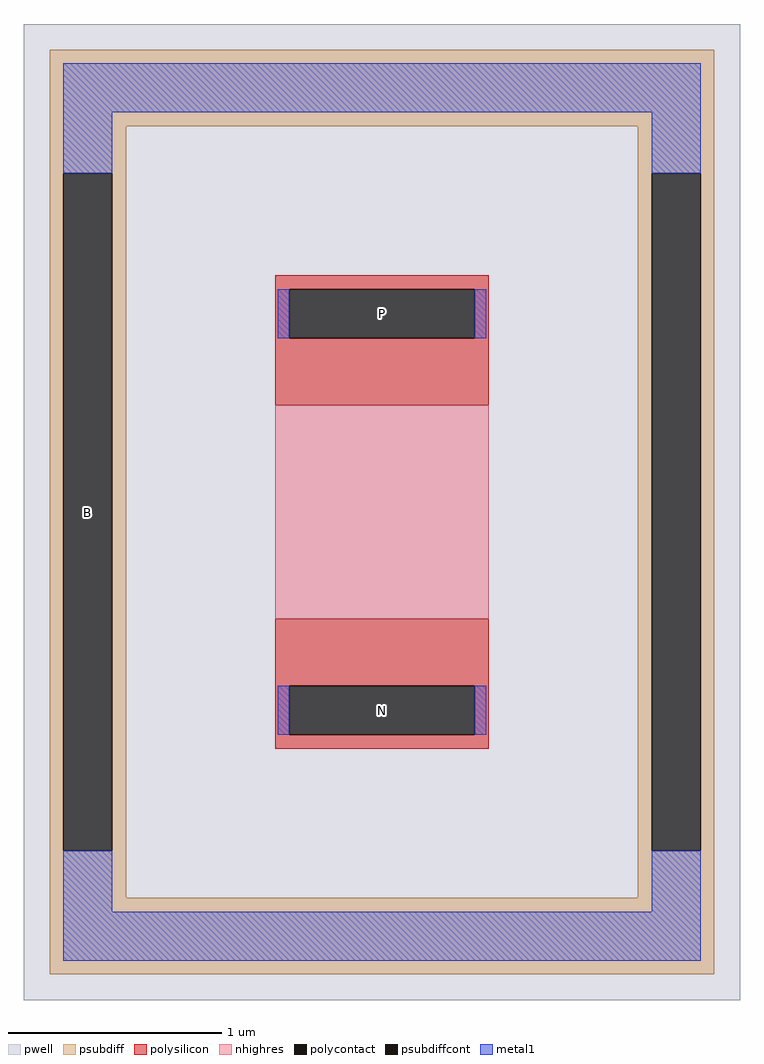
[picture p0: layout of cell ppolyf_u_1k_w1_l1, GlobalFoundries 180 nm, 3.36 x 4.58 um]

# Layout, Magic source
magic
tech gf180mcuD
magscale 1 10
<< pwell >>
rect -336 -458 336 458
<< psubdiff >>
rect -312 362 312 434
rect -312 318 -240 362
rect -312 -318 -299 318
rect -253 -318 -240 318
rect 240 318 312 362
rect -312 -362 -240 -318
rect 240 -318 253 318
rect 299 -318 312 318
rect 240 -362 312 -318
rect -312 -434 312 -362
<< psubdiffcont >>
rect -299 -318 -253 318
rect 253 -318 299 318
<< polysilicon >>
rect -100 209 100 222
rect -100 163 -87 209
rect 87 163 100 209
rect -100 100 100 163
rect -100 -163 100 -100
rect -100 -209 -87 -163
rect 87 -209 100 -163
rect -100 -222 100 -209
<< polycontact >>
rect -87 163 87 209
rect -87 -209 87 -163
<< nhighres >>
rect -100 -100 100 100
<< metal1 >>
rect -299 375 299 421
rect -299 318 -253 375
rect 253 318 299 375
rect -98 163 -87 209
rect 87 163 98 209
rect -98 -209 -87 -163
rect 87 -209 98 -163
rect -299 -375 -253 -318
rect 253 -375 299 -318
rect -299 -421 299 -375
<< labels >>
rlabel polycontact 0 186 0 186 0 P
port 1 nsew
rlabel polycontact 0 -186 0 -186 0 N
port 2 nsew
rlabel psubdiffcont -276 0 -276 0 0 B
port 4 nsew
<< properties >>
string FIXED_BBOX -276 -398 276 398
string MASKHINTS_SBLK -180 -120 180 120
<< end >>
